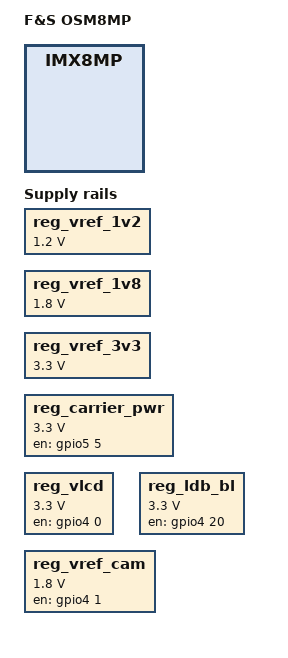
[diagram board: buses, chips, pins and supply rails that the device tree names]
/*
 * Copyright (C) 2025 F&S Elektronik Systeme GmbH
 *
 * This program is free software; you can redistribute it and/or modify
 * it under the terms of the GNU General Public License version 2 as
 * published by the Free Software Foundation.
 */

#include <dt-bindings/usb/pd.h>
#include <dt-bindings/pwm/pwm.h>
#include <dt-bindings/rtc/nxp,pcf85263.h>
#include <dt-bindings/phy/phy-imx8-pcie.h>

/* SOC-nodes to OSM-nodes */

/* Internal nodes */
emmc: &usdhc1 {};
i2c_int: &i2c1 {};
rtc_soc: &snvs_rtc {};

/* External nodes */
osm_can_a: &flexcan1 {};
osm_can_b: &flexcan2 {};
osm_csi: &mipi_csi_0 {};
osm_eth_a: &eqos {};
osm_eth_b: &fec {};
osm_i2c_a: &i2c3 {};
osm_i2c_b: &i2c4 {};
osm_i2c_cam_pci: &i2c5 {};
osm_i2s_a: &sai2 {};
osm_i2s_b: &sai3 {};
osm_pcie_a: &pcie {};
osm_pwm_0: &pwm4 {};
osm_pwm_1: &pwm1 {};
osm_pwm_2: &pwm2 {};
osm_pwm_3: &pwm3 {};
osm_sdio_a: &usdhc2 {};
osm_sdio_b: &usdhc3 {};
osm_spi_a: &flexspi {};
osm_spi_b: &ecspi2 {};
osm_uart_a: &uart1 {};
osm_uart_b: &uart3 {};
osm_uart_c: &uart4 {};
osm_uart_con: &uart2 {};
osm_usb_a: &usb_dwc3_0 {};
osm_usb_c: &usb_dwc3_1 {};

/* Not connected
 *
 * osm_adc_0
 * osm_adc_1
 * osm_com_area
 * osm_pwm_4
 * osm_pwm_5
 * osm_rgb
 * osm_uart_d
 * osm_usb_b
 * osm_adc_1
 * osm_com_area
 * osm_pwm_4
 * osm_pwm_5
 * osm_rgb
 * osm_uart_d
 * osm_usb_b
 */

/ {
	model = "F&S OSM8MP";
	compatible = "fus,imx8mp-osm8mp", "fsl,imx8mp";

	/* -------------------- BOARD INFO -------------------- */
	bdinfo: bdinfo {
		compatible = "bdinfo";
		board_name = "osm8mp";
	};
	aliases {
		/* Internal nodes */
		i2c0 = &i2c_int;
		rtc0 = &rtc85263;
		rtc1 = &rtc_soc;

		/* External nodes */
		can0 = &osm_can_a;
		can1 = &osm_can_b;
		csi0 = &osm_csi;
		ethernet0 = &osm_eth_a;
		ethernet1 = &osm_eth_b;
		i2c1 = &osm_i2c_a;
		i2c2 = &osm_i2c_b;
		i2c3 = &osm_i2c_cam_pci;
		mmc1 = &osm_sdio_a;
		mmc2 = &osm_sdio_b;
		pwm0 = &osm_pwm_0;
		pwm1 = &osm_pwm_1;
		pwm2 = &osm_pwm_2;
		pwm3 = &osm_pwm_3;
		serial0 = &osm_uart_con;
		serial1 = &osm_uart_a;
		serial2 = &osm_uart_b;
		serial3 = &osm_uart_c;
		spi0 = &osm_spi_a;
		spi1 = &osm_spi_b;
	};

	reserved_mem: reserved-memory {
		/* remove this node because the region used
		 * only by tuning tool
		 */
		/delete-node/ isp0@94400000;
		/* remove these nodes because we reserve
		 * our own memory regions
		 */
		/delete-node/ dsp@92400000;
		/delete-node/ dsp_reserved_heap@93400000;
		/delete-node/ vdev0vring0@942f0000;
		/delete-node/ vdev0vring1@942f8000;
		/delete-node/ vdev0buffer@94300000;
	};

	regulators {
		compatible = "simple-bus";
		#address-cells = <1>;
		#size-cells = <0>;

		reg_vref_1v2: regulator_1v2 {
			compatible = "regulator-fixed";
			regulator-name = "vref-1V2";
			regulator-min-microvolt = <1200000>;
			regulator-max-microvolt = <1200000>;
			regulator-always-on;
		};

		reg_vref_1v8: regulator_1v8 {
			compatible = "regulator-fixed";
			regulator-name = "vref-1V8";
			regulator-min-microvolt = <1800000>;
			regulator-max-microvolt = <1800000>;
			regulator-always-on;
		};

		reg_vref_3v3: regulator_3v3 {
			compatible = "regulator-fixed";
			regulator-name = "vref-3V3";
			regulator-min-microvolt = <3300000>;
			regulator-max-microvolt = <3300000>;
			regulator-always-on;
		};
	};

	reg_carrier_pwr: regulator_carrier_pwr {
		compatible = "regulator-fixed";
		regulator-name = "CARRIER_PWR";
		gpio = <&gpio5 5 GPIO_ACTIVE_HIGH>;
		regulator-min-microvolt = <3300000>;
		regulator-max-microvolt = <3300000>;
		regulator-boot-on;
		regulator-always-on;
		enable-active-high;
		startup-delay-us = <1000>;
		off-on-delay-us = <12000>;
	};

	/omit-if-no-ref/
	reg_vlcd: vlcd {
		compatible = "regulator-fixed";
		regulator-name = "VLCD";
		gpio = <&gpio4 0 GPIO_ACTIVE_HIGH>;
		regulator-min-microvolt = <3300000>;
		regulator-max-microvolt = <3300000>;
		enable-active-high;
	};

	/omit-if-no-ref/
	reg_ldb_bl: ldb-bl {
		compatible = "regulator-fixed";
		regulator-name = "ldb-bl";
		gpio = <&gpio4 20 GPIO_ACTIVE_HIGH>;
		regulator-min-microvolt = <3300000>;
		regulator-max-microvolt = <3300000>;
		enable-active-high;
	};

	/omit-if-no-ref/
	reg_vref_cam: regulator_cam {
		compatible = "regulator-fixed";
		regulator-name = "CAM_ENA";
		gpio = <&gpio4 1 GPIO_ACTIVE_HIGH>;
		regulator-min-microvolt = <1800000>;
		regulator-max-microvolt = <1800000>;
		regulator-always-on;
		enable-active-high;
	};
};

&osm_pwm_0 {
	pinctrl-names = "default";
	pinctrl-0 = <&pinctrl_osm_pwm_0>;
	#pwm-cells = <3>;
	keep-power;
	status = "disabled";
};

&osm_pwm_1 {
	pinctrl-names = "default";
	pinctrl-0 = <&pinctrl_osm_pwm_1>;
	status = "disabled";
};

&osm_pwm_2 {
	pinctrl-names = "default";
	pinctrl-0 = <&pinctrl_osm_pwm_2>;
	status = "disabled";
};

&osm_pwm_3 {
	pinctrl-names = "default";
	pinctrl-0 = <&pinctrl_osm_pwm_3>;
	status = "disabled";
};

&A53_0 {
	cpu-supply = <&buck2>;
};

&A53_1 {
	cpu-supply = <&buck2>;
};

&A53_2 {
	cpu-supply = <&buck2>;
};

&A53_3 {
	cpu-supply = <&buck2>;
};

/* PMIC */
&i2c_int {
	clock-frequency = <400000>;
	pinctrl-names = "default";
	pinctrl-0 = <&pinctrl_i2c_int>;
	status = "disabled";

	rtc85263: rtc85263@51 {
		compatible = "nxp,pcf85263";
		reg = <0x51>;
		clock-out = <PCF85263_CLK_OUT_32p768kHz>;

		quartz-load-capacitance = <PCF85263_QUARTZCAP_12p5pF>;
		quartz-drive-strength = <PCF85263_QUARTZDRIVE_LOW>;
		status = "disabled";
	};

	pmic: pca9450@25 {
		reg = <0x25>;
		compatible = "nxp,pca9450c";
		pinctrl-names = "default";
		pinctrl-0 = <&pinctrl_pmic>;
		interrupt-parent = <&gpio5>;
		interrupts = <2 IRQ_TYPE_LEVEL_LOW>;
		status = "disabled";

		regulators {
			buck1: BUCK1 {
				regulator-name = "BUCK1";
				regulator-min-microvolt = <600000>;
				regulator-max-microvolt = <2187500>;
				regulator-boot-on;
				regulator-always-on;
				regulator-ramp-delay = <3125>;
			};

			buck2: BUCK2 {
				regulator-name = "BUCK2";
				regulator-min-microvolt = <600000>;
				regulator-max-microvolt = <2187500>;
				regulator-boot-on;
				regulator-always-on;
				regulator-ramp-delay = <3125>;
				nxp,dvs-run-voltage = <950000>;
				nxp,dvs-standby-voltage = <850000>;
			};

			buck4: BUCK4 {
				regulator-name = "BUCK4";
				regulator-min-microvolt = <3300000>;
				regulator-max-microvolt = <3300000>;
				regulator-boot-on;
				regulator-always-on;
			};

			buck5: BUCK5 {
				regulator-name = "BUCK5";
				regulator-min-microvolt = <1800000>;
				regulator-max-microvolt = <1800000>;
				regulator-boot-on;
				regulator-always-on;
			};

			buck6: BUCK6 {
				regulator-name = "BUCK6";
				regulator-min-microvolt = <600000>;
				regulator-max-microvolt = <3400000>;
				regulator-boot-on;
				regulator-always-on;
			};

			ldo1: LDO1 {
				regulator-name = "LDO1";
				regulator-min-microvolt = <1600000>;
				regulator-max-microvolt = <3300000>;
				regulator-boot-on;
				regulator-always-on;
			};

			ldo2: LDO2 {
				regulator-name = "LDO";
				regulator-min-microvolt = <800000>;
				regulator-max-microvolt = <1150000>;
				regulator-boot-on;
				regulator-always-on;
			};

			ldo3: LDO3 {
				regulator-name = "LDO3";
				regulator-min-microvolt = <800000>;
				regulator-max-microvolt = <3300000>;
				regulator-boot-on;
				regulator-always-on;
			};

			ldo4: LDO4 {
				regulator-name = "LDO4";
				regulator-min-microvolt = <800000>;
				regulator-max-microvolt = <3300000>;
				regulator-boot-on;
				regulator-always-on;
			};

			ldo5: LDO5 {
				regulator-name = "LDO5";
				regulator-compatible = "ldo5";
				regulator-min-microvolt = <1800000>;
				regulator-max-microvolt = <3300000>;
				regulator-boot-on;
				regulator-always-on;
			};
		};
	};
};

&osm_eth_a {
	pinctrl-names = "default";
	pinctrl-0 = <&pinctrl_osm_eth_a>;
	snps,force_thresh_dma_mode;
	snps,mtl-tx-config = <&mtl_tx_setup>;
	snps,mtl-rx-config = <&mtl_rx_setup>;
	status = "disabled";

	mdio {
		compatible = "snps,dwmac-mdio";
		#address-cells = <1>;
		#size-cells = <0>;
	};

	mtl_tx_setup: tx-queues-config {
		snps,tx-queues-to-use = <5>;
		snps,tx-sched-sp;

		queue0 {
			snps,dcb-algorithm;
			snps,priority = <0x1>;
		};

		queue1 {
			snps,dcb-algorithm;
			snps,priority = <0x2>;
		};

		queue2 {
			snps,dcb-algorithm;
			snps,priority = <0x4>;
		};

		queue3 {
			snps,dcb-algorithm;
			snps,priority = <0x8>;
		};

		queue4 {
			snps,dcb-algorithm;
			snps,priority = <0xf0>;
		};
	};

	mtl_rx_setup: rx-queues-config {
		snps,rx-queues-to-use = <5>;
		snps,rx-sched-sp;

		queue0 {
			snps,dcb-algorithm;
			snps,priority = <0x1>;
			snps,map-to-dma-channel = <0>;
		};

		queue1 {
			snps,dcb-algorithm;
			snps,priority = <0x2>;
			snps,map-to-dma-channel = <1>;
		};

		queue2 {
			snps,dcb-algorithm;
			snps,priority = <0x4>;
			snps,map-to-dma-channel = <2>;
		};

		queue3 {
			snps,dcb-algorithm;
			snps,priority = <0x8>;
			snps,map-to-dma-channel = <3>;
		};

		queue4 {
			snps,dcb-algorithm;
			snps,priority = <0xf0>;
			snps,map-to-dma-channel = <4>;
		};
	};
};

&osm_eth_b {
	pinctrl-names = "default";
	pinctrl-0 = <&pinctrl_osm_eth_b>;
	fsl,magic-packet;
	status = "disabled";
};

&osm_i2c_a {
	clock-frequency = <400000>;
	pinctrl-names = "default";
	pinctrl-0 = <&pinctrl_osm_i2c_a>;
	status = "disabled";

	/* EEPROM */
	eeprom: eeprom@50 {
		compatible = "atmel,24c64";
		reg = <0x50>;
		pagesize = <8>;
		vcc-supply = <&reg_vref_1v8>;
	};
};

&osm_i2c_b {
	clock-frequency = <400000>;
	pinctrl-names = "default";
	pinctrl-0 = <&pinctrl_osm_i2c_b>;
	status = "disabled";
};

&osm_i2c_cam_pci {
	clock-frequency = <400000>;
	pinctrl-names = "default";
	pinctrl-0 = <&pinctrl_osm_i2c_cam_pci>;
	status = "disabled";
};

&osm_spi_a {
	#address-cells = <1>;
	#size-cells = <0>;
	pinctrl-names = "default";
	pinctrl-0 = <&pinctrl_osm_spi_a>;
	status = "disabled";
};

&osm_spi_b {
	#address-cells = <1>;
	#size-cells = <0>;
	pinctrl-names = "default";
	pinctrl-0 = <&pinctrl_osm_spi_b>;
	status = "disabled";
};

&osm_can_a {
	pinctrl-names = "default";
	pinctrl-0 = <&pinctrl_osm_can_a>;
	status = "disabled";
};

&osm_can_b {
	pinctrl-names = "default";
	pinctrl-0 = <&pinctrl_osm_can_b>;
	status = "disabled";
};

&hdmi_blk_ctrl {
	status = "disabled";
};

&irqsteer_hdmi {
	status = "disabled";
};

&hdmi_pavi {
	status = "disabled";
};

&hdmi {
	status = "disabled";
};

&hdmiphy {
	status = "disabled";
};

&lcdif1 {
	status = "disabled";
};

&lcdif2 {
	status = "disabled";
};

&lcdif3 {
	status = "disabled";
};

&ldb {
	status = "disabled";
};

&ldb_phy {
	status = "disabled";
};

&mipi_dsi {
	status = "disabled";
};

&easrc {
	status = "disabled";
};

&osm_pcie_a {
	pinctrl-names = "default";
	pinctrl-0 = <&pinctrl_osm_pcie_a>;
	reset-gpio = <&gpio4 29 GPIO_ACTIVE_LOW>;
	status = "disabled";
};

&pcie_phy {
	fsl,refclk-pad-mode = <IMX8_PCIE_REFCLK_PAD_UNUSED>;
	fsl,clkreq-unsupported;
	clocks = <&hsio_blk_ctrl>;
	clock-names = "ref";
	status = "disabled";
};

&osm_i2s_a {
	#sound-dai-cells = <0>;
	pinctrl-names = "default";
	pinctrl-0 = <&pinctrl_osm_i2s_a>;
	assigned-clocks = <&clk IMX8MP_CLK_SAI2>;
	assigned-clock-rates = <24576000>;
	clocks = <&audio_blk_ctrl IMX8MP_CLK_AUDIOMIX_SAI2_IPG>, <&clk IMX8MP_CLK_DUMMY>,
		 <&audio_blk_ctrl IMX8MP_CLK_AUDIOMIX_SAI2_MCLK1>, <&clk IMX8MP_CLK_DUMMY>,
		 <&clk IMX8MP_CLK_DUMMY>;
	clock-names = "bus", "mclk0", "mclk1", "mclk2", "mclk3";
	fsl,sai-mclk-direction-output;
	/* sai to clock and frame tx/rx master */
	fsl,txmasterflag = <1>; // SND_SOC_DAIFMT_CBM_CFM
	fsl,rxmasterflag = <1>; // SND_SOC_DAIFMT_CBM_CFM
	status = "disabled";
};

&osm_i2s_b {
	pinctrl-names = "default";
	pinctrl-0 = <&pinctrl_osm_i2s_b>;
	assigned-clocks = <&clk IMX8MP_CLK_SAI3>;
	assigned-clock-rates = <24576000>;
	clocks = <&audio_blk_ctrl IMX8MP_CLK_AUDIOMIX_SAI3_IPG>, <&clk IMX8MP_CLK_DUMMY>,
		 <&audio_blk_ctrl IMX8MP_CLK_AUDIOMIX_SAI3_MCLK1>, <&clk IMX8MP_CLK_DUMMY>,
		 <&clk IMX8MP_CLK_DUMMY>;
	clock-names = "bus", "mclk0", "mclk1", "mclk2", "mclk3";
	fsl,sai-mclk-direction-output;
	fsl,txmasterflag = <1>; // SND_SOC_DAIFMT_CBM_CFM
	fsl,rxmasterflag = <1>; // SND_SOC_DAIFMT_CBM_CFM
	status = "disabled";
};

&sdma2 {
	status = "disabled";
};

&osm_uart_con {
	pinctrl-names = "default";
	pinctrl-0 = <&pinctrl_osm_uart_con>;
	status = "disabled";
};

&osm_uart_a {
	pinctrl-names = "default";
	pinctrl-0 = <&pinctrl_osm_uart_a>;
	status = "disabled";
};

&osm_uart_b {
	pinctrl-names = "default";
	pinctrl-0 = <&pinctrl_osm_uart_b>;
	status = "disabled";
};

&osm_uart_c {
	pinctrl-names = "default";
	pinctrl-0 = <&pinctrl_osm_uart_c>;
	status = "disabled";
};

&usb3_phy0 {
	fsl,phy-tx-vref-tune = <0xe>;
	fsl,phy-tx-preemp-amp-tune = <3>;
	fsl,phy-tx-vboost-level = <5>;
	fsl,phy-comp-dis-tune = <7>;
	fsl,pcs-tx-deemph-3p5db = <0x21>;
	fsl,phy-pcs-tx-swing-full = <0x7f>;
	status = "disabled";
};

&usb3_0 {
	status = "disabled";
};

&osm_usb_a {
	pinctrl-names = "default";
	pinctrl-0 = <&pinctrl_osm_usb_a>;
	dr_mode = "otg";
	hnp-disable;
	srp-disable;
	adp-disable;
	usb-role-switch;
	role-switch-default-mode = "none";
	status = "disabled";
};

&usb3_phy1 {
	fsl,phy-tx-preemp-amp-tune = <3>;
	fsl,phy-tx-vref-tune = <0xb>;
	status = "disabled";
};

&usb3_1 {
	status = "disabled";
};

&osm_usb_c {
	pinctrl-names = "default";
	pinctrl-0 = <&pinctrl_osm_usb_c>;
	status = "disabled";
};

&osm_sdio_a {
	assigned-clocks = <&clk IMX8MP_CLK_USDHC2>;
	assigned-clock-rates = <400000000>;
	pinctrl-names = "default", "state_100mhz", "state_200mhz";
	pinctrl-0 = <&pinctrl_osm_sdio_a>;
	pinctrl-1 = <&pinctrl_osm_sdio_a_100mhz>;
	pinctrl-2 = <&pinctrl_osm_sdio_a_200mhz>;
	bus-width = <4>;
	status = "disabled";
};

&osm_sdio_b {
	assigned-clocks = <&clk IMX8MP_CLK_USDHC3>;
	assigned-clock-rates = <400000000>;
	pinctrl-names = "default", "state_100mhz", "state_200mhz";
	pinctrl-0 = <&pinctrl_osm_sdio_b>;
	pinctrl-1 = <&pinctrl_osm_sdio_b_100mhz>;
	pinctrl-2 = <&pinctrl_osm_sdio_b_200mhz>;
	vqmmc-supply = <&reg_vref_1v8>;
	status = "disabled";
};

&emmc {
	assigned-clocks = <&clk IMX8MP_CLK_USDHC1>;
	assigned-clock-rates = <400000000>;
	pinctrl-names = "default", "state_100mhz", "state_200mhz";
	pinctrl-0 = <&pinctrl_emmc>;
	pinctrl-1 = <&pinctrl_emmc_100mhz>;
	pinctrl-2 = <&pinctrl_emmc_200mhz>;
	vmmc-supply = <&reg_vref_3v3>;
	vqmmc-supply = <&reg_vref_1v8>;
	bus-width = <8>;
	non-removable;
	status = "disabled";
};

&osm_csi {
	#address-cells = <1>;
	#size-cells = <0>;
	status = "disabled";
};

&wdog1 {
	pinctrl-names = "default";
	pinctrl-0 = <&pinctrl_wdog>;
	fsl,ext-reset-output;
	status = "disabled";
};

&vpu_g1 {
	status = "disabled";
};

&vpu_g2 {
	status = "disabled";
};

&vpu_vc8000e {
	status = "disabled";
};

&vpu_v4l2 {
	status = "disabled";
};

&gpu_3d {
	status = "disabled";
};

&gpu_2d {
	status = "disabled";
};

&ml_vipsi {
	status = "disabled";
};

&mix_gpu_ml {
	status = "disabled";
};

&cameradev {
	status = "disabled";
};

&isp_0 {
	/* remove this property because this region used
	 * only by tuning tool
	 * */
	/delete-property/ memory-region;
};

&isi_0 {
	status = "disabled";

	cap_device {
		status = "disabled";
	};

	m2m_device {
		status = "disabled";
	};
};

&isi_1 {
	status = "disabled";

	cap_device {
		status = "disabled";
	};
};

&dsp {
	/delete-property/ memory-region;
	status = "disabled";
};

&snvs_pwrkey {
	status = "disabled";
};

/* Disable CPU RTC - external available */
&rtc_soc {
	status = "disabled";
};

/* GPIO declarations */
&gpio1 {
	gpio-line-names =
	/* 0 */   "GPIO_B_2", "GPIO_A_3", "WDOG", "GPIO_B_0",
	/* 4 */   "SDIO_A_VSEL", "GPIO_A_0", "GPIO_A_1", "GPIO_A_2",
	/* 8 */   "GPIO_A_5", "GPIO_B_3", "GPIO_A_4", "GPIO_B_1",
	/* 12 */  "USB_A_EN", "USB_A_OC", "USB_C_EN", "USB_C_OC",
	/* 16 */  "ETH_A_MDC", "ETH_A_MDIO", "ETH_A_(S)(R)(G)MII_TXD3", "ETH_A_(S)(R)(G)MII_TXD2",
	/* 20 */  "ETH_A_(S)(R)(G)MII_TXD1", "ETH_A_(S)(R)(G)MII_TXD0",
		  "ETH_A_(R)(G)MII_TX_EN(_ER)", "ETH_A_(R)(G)MII_TX_CLK",
	/* 24 */  "ETH_A_(R)(G)MII_RX_DV(_ER)", "ETH_A_(R)(G)MII_RX_CLK",
		  "ETH_A_(S)(R)(G)MII_RXD0", "ETH_A_(S)(R)(G)MII_RXD1",
	/* 28 */  "ETH_A_(R)(G)MII_RXD2", "ETH_A_(R)(G)MII_RXD3", "", "";
};

&gpio2 {
	gpio-line-names =
	/* 0 */   "SD_eMMC_CLK", "SD_eMMC_CMD", "SD_eMMC_D0", "SD_eMMC_D1",
	/* 4 */   "SD_eMMC_D2", "SD_eMMC_D3", "SD_eMMC_D4", "SD_eMMC_D5",
	/* 8 */   "SD_eMMC_D6", "SD_eMMC_D7", "SD_eMMC_RST", "SD_eMMC_DS",
	/* 12 */  "SDIO_A_CD", "SDIO_A_CLK", "SDIO_A_CMD", "SDIO_A_D0",
	/* 16 */  "SDIO_A_D1", "SDIO_A_D2", "SDIO_A_D3", "SDIO_A_PWR_EN",
	/* 20 */  "SDIO_A_WP", "", "", "",
	/* 24 */  "", "", "", "",
	/* 28 */  "", "", "", "";
};

&gpio3 {
	gpio-line-names =
	/* 0 */   "SPI_A_SCK", "SPI_A_CS0#", "PCIe_SM_ALERT#", "SDIO_B_D5",
	/* 4 */   "SDIO_B_D6", "SDIO_B_D7", "SPI_A_IO0", "SPI_A_IO1",
	/* 8 */   "SPI_A_IO2", "SPI_A_IO3", "SDIO_B_D0", "SDIO_B_D1",
	/* 12 */  "SDIO_B_D2", "SDIO_B_D3", "DSI_TE", "SDIO_B_D4",
	/* 16 */  "SDIO_B_PWR_EN", "SDIO_B_CLK", "SDIO_B_CMD", "DISP_BL_PWM",
	/* 20 */  "GPIO3_IO20", "GPIO3_IO21", "PCIe_CLKREQ", "GPIO_B_6",
	/* 24 */  "GPIO_B_4", "PWM_1", "I2C_C_SCL", "I2C_C_SDA",
	/* 28 */  "CAN_B_TX", "CAN_B_RX", "", "";
};

&gpio4 {
	gpio-line-names =
	/* 0 */   "DISP_VDD_EN", "CAM_EN", "CAM_RST", "GPIO_C_1",
	/* 4 */   "ETH_B_MDC", "ETH_B_MDIO", "ETH_B_(S)(R)(G)MII_RXD0", "ETH_B_(S)(R)(G)MII_RXD1",
	/* 8 */   "ETH_B_(R)(G)MII_RXD2", "ETH_B_(R)(G)MII_RXD3", "ETH_B_(R)(G)MII_RX_DV(_ER)", "ETH_B_(R)(G)MII_RX_CLK",
	/* 12 */  "ETH_B_(S)(R)(G)MII_TXD0", "ETH_B_(S)(R)(G)MII_TXD1", "ETH_B_(S)(R)(G)MII_TXD2", "ETH_B_(S)(R)(G)MII_TXD3",
	/* 16 */  "ETH_B_(R)(G)MII_TX_EN(_ER)", "ETH_B_(R)(G)MII_TX_CLK", "GPIO_C_3", "GPIO_C_2",
	/* 20 */  "DISP_BL_EN", "GPIO_B_7", "GPIO_B_5", "I2S_A_DATA_IN",
	/* 24 */  "I2S_A_LRCLK", "I2S_A_BITCLK", "I2S_A_DATA_OUT", "GPIO_C_0",
	/* 28 */  "PCIe_WAKE", "PCIe_PERST", "I2S_B_DATA_IN", "I2S_B_LRCLK";
};

&gpio5 {
	gpio-line-names =
	/* 0 */   "I2S_A_BITCLK", "I2S_B_DATA_OUT", "PMIC_IRQ", "CAN_A_TX",
	/* 4 */   "CAN_A_RX", "CARRIER_PWR_EN", "UART_B_RX", "UART_B_TX",
	/* 8 */   "UART_B_RTS", "UART_B_CTS", "SPI_B_SCK", "SPI_B_SDO",
	/* 12 */  "SPI_B_SDI", "SPI_B_CS0", "I2C_INT_SCL", "I2C_INT_SDA",
	/* 16 */  "SDIO_B_CD", "SDIO_B_WP", "I2C_A_SCL", "I2C_A_SDA",
	/* 20 */  "I2C_B_SCL", "I2C_B_SDA", "UART_A_RX", "UART_A_TX",
	/* 24 */  "UART_CON_RX", "UART_CON_TX", "UART_A_RTS", "UART_A_CTS",
	/* 28 */  "UART_C_RX", "UART_C_TX", "", "";
};

&iomuxc {
	pinctrl-names = "default";
	pinctrl-0 = <&pinctrl_hog>;

	pinctrl_hog: hoggrp {
		fsl,pins = <
			/* CARRIER_PWR_EN */
			MX8MP_IOMUXC_SPDIF_EXT_CLK__GPIO5_IO05	0x00004

			/* GPIO_A */
			/* 0 */ MX8MP_IOMUXC_GPIO1_IO05__GPIO1_IO05	0x00004
			/* 1 */ MX8MP_IOMUXC_GPIO1_IO06__GPIO1_IO06	0x00004
			/* 2 */ MX8MP_IOMUXC_GPIO1_IO07__GPIO1_IO07	0x00004
			/* 3 */ MX8MP_IOMUXC_GPIO1_IO01__GPIO1_IO01	0x00004
			/* 4 */ MX8MP_IOMUXC_GPIO1_IO10__GPIO1_IO10	0x00004
			/* 5 */ MX8MP_IOMUXC_GPIO1_IO08__GPIO1_IO08	0x00004
			/* GPIO_B */
			/* 0 */ MX8MP_IOMUXC_GPIO1_IO03__GPIO1_IO03	0x00004
			/* 1 */ MX8MP_IOMUXC_GPIO1_IO11__GPIO1_IO11	0x00004
			/* 2 */ MX8MP_IOMUXC_GPIO1_IO00__GPIO1_IO00	0x00004
			/* 3 */ MX8MP_IOMUXC_GPIO1_IO09__GPIO1_IO09	0x00004
			/* 4 */ MX8MP_IOMUXC_SAI5_RXD3__GPIO3_IO24	0x00004
			/* 5 */ MX8MP_IOMUXC_SAI2_RXC__GPIO4_IO22	0x00004
			/* 6 */ MX8MP_IOMUXC_SAI5_RXD2__GPIO3_IO23	0x00004
			/* 7 */ MX8MP_IOMUXC_SAI2_RXFS__GPIO4_IO21	0x00004

			/* GPIO_C */
			/* 0 */ MX8MP_IOMUXC_SAI2_MCLK__GPIO4_IO27	0x00004
			/* 1 */ MX8MP_IOMUXC_SAI1_RXD1__GPIO4_IO03	0x00004
			/* 2 */ MX8MP_IOMUXC_SAI1_TXD7__GPIO4_IO19	0x00004
			/* 3 */ MX8MP_IOMUXC_SAI1_TXD6__GPIO4_IO18	0x00004
			/* 4 */ /* VDD_EN: Disable display for usage */
			/* 4 */ MX8MP_IOMUXC_SAI1_RXFS__GPIO4_IO00	0x00004
			/* 5 */ /* BL_EN: Disable backlight control for usage */
			/* 5 */ MX8MP_IOMUXC_SAI1_MCLK__GPIO4_IO20	0x00004
			/* 6 */ /* CAM_EN: Disable CAM for usage */
			/* 6 */ MX8MP_IOMUXC_SAI1_RXC__GPIO4_IO01	0x00004
			/* 7 */ /* CAM_RST: Disable CAM for usage */
			/* 7 */ MX8MP_IOMUXC_SAI1_RXD0__GPIO4_IO02	0x00004
		>;
	};

	pinctrl_osm_pwm_0: pwm4grp {
		fsl,pins = <
			MX8MP_IOMUXC_SAI5_RXFS__PWM4_OUT	0x116
		>;
	};

	pinctrl_osm_pwm_1: pwm1grp {
		fsl,pins = <
			MX8MP_IOMUXC_SAI5_MCLK__PWM1_OUT	0x116
		>;
	};

	pinctrl_osm_pwm_2: pwm2grp {
		fsl,pins = <
			MX8MP_IOMUXC_SAI5_RXD0__PWM2_OUT	0x116
		>;
	};

	pinctrl_osm_pwm_3: pwm3grp {
		fsl,pins = <
			MX8MP_IOMUXC_SAI5_RXC__PWM3_OUT		0x116
		>;
	};

	pinctrl_osm_spi_a: flexspigrp {
		fsl,pins = <
			MX8MP_IOMUXC_NAND_ALE__FLEXSPI_A_SCLK			0x82
			MX8MP_IOMUXC_NAND_DATA00__FLEXSPI_A_DATA00		0x82
			MX8MP_IOMUXC_NAND_DATA01__FLEXSPI_A_DATA01		0x82
			MX8MP_IOMUXC_NAND_DATA02__FLEXSPI_A_DATA02		0x82
			MX8MP_IOMUXC_NAND_DATA03__FLEXSPI_A_DATA03		0x82
		>;
	};

	pinctrl_osm_spi_a_cs0: flexspigrp-cs0 {
		fsl,pins = <
			MX8MP_IOMUXC_NAND_CE0_B__GPIO3_IO01			0x40000
		>;
	};

	pinctrl_osm_spi_a_cs1: flexspigrp-cs1 {
		fsl,pins = <
			MX8MP_IOMUXC_SAI5_RXD0__GPIO3_IO21			0x40000
		>;
	};

	pinctrl_osm_spi_a_hs: flexspigrp-hs {
			/* Optional to DSI_TE, requires capacitive load (10-18pF)
			 * on baseboard (near [CG #R2]) */
		fsl,pins = <
			MX8MP_IOMUXC_NAND_DQS__FLEXSPI_A_DQS			0x40000
		>;
	};

	pinctrl_osm_spi_b: ecspi2grp {
		fsl,pins = <
			MX8MP_IOMUXC_ECSPI2_SCLK__ECSPI2_SCLK		0x82
			MX8MP_IOMUXC_ECSPI2_MOSI__ECSPI2_MOSI		0x82
			MX8MP_IOMUXC_ECSPI2_MISO__ECSPI2_MISO		0x82
		>;
	};
	pinctrl_osm_spi_b_cs0: ecspi2grp-cs0 {
		fsl,pins = <
			MX8MP_IOMUXC_ECSPI2_SS0__GPIO5_IO13			0x40000
		>;
	};

	pinctrl_osm_spi_b_cs1: ecspi2grp-cs1 {
		fsl,pins = <
			MX8MP_IOMUXC_SAI5_RXC__GPIO3_IO20			0x40000
		>;
	};

	pinctrl_osm_eth_a: eqosgrp {
		fsl,pins = <
			MX8MP_IOMUXC_ENET_MDC__ENET_QOS_MDC							0x3
			MX8MP_IOMUXC_ENET_MDIO__ENET_QOS_MDIO						0x3
			MX8MP_IOMUXC_ENET_RD0__ENET_QOS_RGMII_RD0					0x91
			MX8MP_IOMUXC_ENET_RD1__ENET_QOS_RGMII_RD1					0x91
			MX8MP_IOMUXC_ENET_RD2__ENET_QOS_RGMII_RD2					0x91
			MX8MP_IOMUXC_ENET_RD3__ENET_QOS_RGMII_RD3					0x91
			MX8MP_IOMUXC_ENET_RXC__CCM_ENET_QOS_CLOCK_GENERATE_RX_CLK	0x91
			MX8MP_IOMUXC_ENET_RX_CTL__ENET_QOS_RGMII_RX_CTL				0x91
			MX8MP_IOMUXC_ENET_TD0__ENET_QOS_RGMII_TD0					0x1f
			MX8MP_IOMUXC_ENET_TD1__ENET_QOS_RGMII_TD1					0x1f
			MX8MP_IOMUXC_ENET_TD2__ENET_QOS_RGMII_TD2					0x1f
			MX8MP_IOMUXC_ENET_TD3__ENET_QOS_RGMII_TD3					0x1f
			MX8MP_IOMUXC_ENET_TX_CTL__ENET_QOS_RGMII_TX_CTL				0x1f
			MX8MP_IOMUXC_ENET_TXC__CCM_ENET_QOS_CLOCK_GENERATE_TX_CLK	0x1f
		>;
	};

	pinctrl_osm_eth_b: fecgrp {
		fsl,pins = <
			MX8MP_IOMUXC_SAI1_RXD2__ENET1_MDC			0x3
			MX8MP_IOMUXC_SAI1_RXD3__ENET1_MDIO			0x3
			MX8MP_IOMUXC_SAI1_RXD4__ENET1_RGMII_RD0		0x91
			MX8MP_IOMUXC_SAI1_RXD5__ENET1_RGMII_RD1		0x91
			MX8MP_IOMUXC_SAI1_RXD6__ENET1_RGMII_RD2		0x91
			MX8MP_IOMUXC_SAI1_RXD7__ENET1_RGMII_RD3		0x91
			MX8MP_IOMUXC_SAI1_TXC__ENET1_RGMII_RXC		0x91
			MX8MP_IOMUXC_SAI1_TXFS__ENET1_RGMII_RX_CTL	0x91
			MX8MP_IOMUXC_SAI1_TXD0__ENET1_RGMII_TD0		0x1f
			MX8MP_IOMUXC_SAI1_TXD1__ENET1_RGMII_TD1		0x1f
			MX8MP_IOMUXC_SAI1_TXD2__ENET1_RGMII_TD2		0x1f
			MX8MP_IOMUXC_SAI1_TXD3__ENET1_RGMII_TD3		0x1f
			MX8MP_IOMUXC_SAI1_TXD4__ENET1_RGMII_TX_CTL	0x1f
			MX8MP_IOMUXC_SAI1_TXD5__ENET1_RGMII_TXC		0x1f
		>;
	};

	pinctrl_osm_can_a: flexcan1grp {
		fsl,pins = <
			MX8MP_IOMUXC_SPDIF_RX__CAN1_RX		0x154
			MX8MP_IOMUXC_SPDIF_TX__CAN1_TX		0x154
		>;
	};

	pinctrl_osm_can_b: flexcan2grp {
		fsl,pins = <
			MX8MP_IOMUXC_HDMI_HPD__CAN2_RX		0x154
			MX8MP_IOMUXC_HDMI_CEC__CAN2_TX		0x154
		>;
	};

	pinctrl_i2c_int: i2c1grp {
		fsl,pins = <
			MX8MP_IOMUXC_I2C1_SCL__I2C1_SCL		0x40000083
			MX8MP_IOMUXC_I2C1_SDA__I2C1_SDA		0x40000083
		>;
	};

	pinctrl_osm_i2c_a: i2c3grp {
		fsl,pins = <
			MX8MP_IOMUXC_I2C3_SCL__I2C3_SCL		0x40000083
			MX8MP_IOMUXC_I2C3_SDA__I2C3_SDA		0x40000083
		>;
	};

	pinctrl_osm_i2c_b: i2c4grp {
		fsl,pins = <
			MX8MP_IOMUXC_I2C4_SCL__I2C4_SCL		0x40000083
			MX8MP_IOMUXC_I2C4_SDA__I2C4_SDA		0x40000083
		>;
	};

	pinctrl_osm_i2c_cam_pci: i2c5grp {
		fsl,pins = <
			MX8MP_IOMUXC_HDMI_DDC_SCL__I2C5_SCL	0x40000083
			MX8MP_IOMUXC_HDMI_DDC_SDA__I2C5_SDA	0x40000083
		>;
	};

	pinctrl_osm_pcie_a: pciegrp {
		fsl,pins = <
			/* mPCIE_CLKREQ */
			MX8MP_IOMUXC_SAI5_RXD1__GPIO3_IO22		0x81
			/* mPCIE_PERST */
			MX8MP_IOMUXC_SAI3_RXC__GPIO4_IO29		0x4
			/* mPCIE_WAKE */
			MX8MP_IOMUXC_SAI3_RXFS__GPIO4_IO28		0x81
			/* mPCIE_SM_ALERT */
			MX8MP_IOMUXC_NAND_CE1_B__GPIO3_IO02		0x81
		>;
	};

	pinctrl_pmic: pmicirq {
		fsl,pins = <
			MX8MP_IOMUXC_SAI3_MCLK__GPIO5_IO02	0x161
		>;
	};

	pinctrl_osm_i2s_a: sai2grp {
		fsl,pins = <
			MX8MP_IOMUXC_SAI2_TXFS__AUDIOMIX_SAI2_TX_SYNC	0xd6
			MX8MP_IOMUXC_SAI2_TXC__AUDIOMIX_SAI2_TX_BCLK	0xd6
			MX8MP_IOMUXC_SAI2_TXD0__AUDIOMIX_SAI2_TX_DATA00	0xd6
			MX8MP_IOMUXC_SAI2_RXD0__AUDIOMIX_SAI2_RX_DATA00	0xd6
		>;
	};

	pinctrl_osm_i2s_b: sai3grp {
		fsl,pins = <
			MX8MP_IOMUXC_SAI3_TXFS__AUDIOMIX_SAI3_TX_SYNC	0xd6
			MX8MP_IOMUXC_SAI3_TXC__AUDIOMIX_SAI3_TX_BCLK	0xd6
			MX8MP_IOMUXC_SAI3_TXD__AUDIOMIX_SAI3_TX_DATA00	0xd6
			MX8MP_IOMUXC_SAI3_RXD__AUDIOMIX_SAI3_RX_DATA00	0xd6
		>;
	};

	pinctrl_osm_uart_a: uart1grp {
		fsl,pins = <
			MX8MP_IOMUXC_UART1_RXD__UART1_DCE_RX 	0x140
			MX8MP_IOMUXC_UART1_TXD__UART1_DCE_TX	0x140
		>;
	};

	pinctrl_osm_uart_a_rtscts: uart1grp-rtscts {
		fsl,pins = <
			MX8MP_IOMUXC_UART3_RXD__UART1_DCE_CTS	0x140
			MX8MP_IOMUXC_UART3_TXD__UART1_DCE_RTS	0x140
		>;
	};

	pinctrl_osm_uart_b: uart3grp {
		fsl,pins = <
			MX8MP_IOMUXC_ECSPI1_SCLK__UART3_DCE_RX 	0x140
			MX8MP_IOMUXC_ECSPI1_MOSI__UART3_DCE_TX	0x140
		>;
	};

	pinctrl_osm_uart_b_rtscts: uart3grp-rtscts {
		fsl,pins = <
			MX8MP_IOMUXC_ECSPI1_MISO__UART3_DCE_CTS	0x140
			MX8MP_IOMUXC_ECSPI1_SS0__UART3_DCE_RTS	0x140
		>;
	};


	pinctrl_osm_uart_c: uart4grp {
		fsl,pins = <
			MX8MP_IOMUXC_UART4_RXD__UART4_DCE_RX	0x140
			MX8MP_IOMUXC_UART4_TXD__UART4_DCE_TX	0x140
		>;
	};

	pinctrl_osm_uart_con: uart2grp {
		fsl,pins = <
			MX8MP_IOMUXC_UART2_RXD__UART2_DCE_RX	0x140
			MX8MP_IOMUXC_UART2_TXD__UART2_DCE_TX	0x140
		>;
	};

	pinctrl_osm_usb_a: usb1grp {
		fsl,pins = <
			MX8MP_IOMUXC_GPIO1_IO12__USB1_PWR	0x4
		>;
	};

	pinctrl_osm_usb_c: usb2grp {
		fsl,pins = <
			MX8MP_IOMUXC_GPIO1_IO14__USB2_PWR	0x4
		>;
	};

	pinctrl_emmc: usdhc1grp {
		fsl,pins = <
			MX8MP_IOMUXC_SD1_CLK__USDHC1_CLK			0x190
			MX8MP_IOMUXC_SD1_CMD__USDHC1_CMD			0x090
			MX8MP_IOMUXC_SD1_DATA0__USDHC1_DATA0		0x090
			MX8MP_IOMUXC_SD1_DATA1__USDHC1_DATA1		0x1d0
			MX8MP_IOMUXC_SD1_DATA2__USDHC1_DATA2		0x1d0
			MX8MP_IOMUXC_SD1_DATA3__USDHC1_DATA3		0x1d0
			MX8MP_IOMUXC_SD1_DATA4__USDHC1_DATA4		0x1d0
			MX8MP_IOMUXC_SD1_DATA5__USDHC1_DATA5		0x1d0
			MX8MP_IOMUXC_SD1_DATA6__USDHC1_DATA6		0x1d0
			MX8MP_IOMUXC_SD1_DATA7__USDHC1_DATA7		0x1d0
			MX8MP_IOMUXC_SD1_STROBE__USDHC1_STROBE		0x190
			MX8MP_IOMUXC_SD1_RESET_B__USDHC1_RESET_B	0x004
		>;
	};

	pinctrl_emmc_100mhz: usdhc1grp-100mhz {
		fsl,pins = <
			MX8MP_IOMUXC_SD1_CLK__USDHC1_CLK			0x194
			MX8MP_IOMUXC_SD1_CMD__USDHC1_CMD			0x094
			MX8MP_IOMUXC_SD1_DATA0__USDHC1_DATA0		0x094
			MX8MP_IOMUXC_SD1_DATA1__USDHC1_DATA1		0x1d4
			MX8MP_IOMUXC_SD1_DATA2__USDHC1_DATA2		0x1d4
			MX8MP_IOMUXC_SD1_DATA3__USDHC1_DATA3		0x1d4
			MX8MP_IOMUXC_SD1_DATA4__USDHC1_DATA4		0x1d4
			MX8MP_IOMUXC_SD1_DATA5__USDHC1_DATA5		0x1d4
			MX8MP_IOMUXC_SD1_DATA6__USDHC1_DATA6		0x1d4
			MX8MP_IOMUXC_SD1_DATA7__USDHC1_DATA7		0x1d4
			MX8MP_IOMUXC_SD1_STROBE__USDHC1_STROBE		0x190
			MX8MP_IOMUXC_SD1_RESET_B__USDHC1_RESET_B	0x004
		>;
	};

	pinctrl_emmc_200mhz: usdhc1grp-200mhz {
		fsl,pins = <
			MX8MP_IOMUXC_SD1_CLK__USDHC1_CLK			0x196
			MX8MP_IOMUXC_SD1_CMD__USDHC1_CMD			0x096
			MX8MP_IOMUXC_SD1_DATA0__USDHC1_DATA0		0x096
			MX8MP_IOMUXC_SD1_DATA1__USDHC1_DATA1		0x1d6
			MX8MP_IOMUXC_SD1_DATA2__USDHC1_DATA2		0x1d6
			MX8MP_IOMUXC_SD1_DATA3__USDHC1_DATA3		0x1d6
			MX8MP_IOMUXC_SD1_DATA4__USDHC1_DATA4		0x1d6
			MX8MP_IOMUXC_SD1_DATA5__USDHC1_DATA5		0x1d6
			MX8MP_IOMUXC_SD1_DATA6__USDHC1_DATA6		0x1d6
			MX8MP_IOMUXC_SD1_DATA7__USDHC1_DATA7		0x1d6
			MX8MP_IOMUXC_SD1_STROBE__USDHC1_STROBE		0x190
			MX8MP_IOMUXC_SD1_RESET_B__USDHC1_RESET_B	0x004
		>;
	};


	pinctrl_osm_sdio_a: usdhc2grp {
		fsl,pins = <
			MX8MP_IOMUXC_SD2_CLK__USDHC2_CLK		0x190
			MX8MP_IOMUXC_SD2_CMD__USDHC2_CMD		0x1d0
			MX8MP_IOMUXC_SD2_DATA0__USDHC2_DATA0	0x1d0
			MX8MP_IOMUXC_SD2_DATA1__USDHC2_DATA1	0x1d0
			MX8MP_IOMUXC_SD2_DATA2__USDHC2_DATA2	0x1d0
			MX8MP_IOMUXC_SD2_DATA3__USDHC2_DATA3	0x1d0
		>;
	};

	pinctrl_osm_sdio_a_100mhz: usdhc2grp-100mhz {
		fsl,pins = <
			MX8MP_IOMUXC_SD2_CLK__USDHC2_CLK		0x194
			MX8MP_IOMUXC_SD2_CMD__USDHC2_CMD		0x1d4
			MX8MP_IOMUXC_SD2_DATA0__USDHC2_DATA0	0x1d4
			MX8MP_IOMUXC_SD2_DATA1__USDHC2_DATA1	0x1d4
			MX8MP_IOMUXC_SD2_DATA2__USDHC2_DATA2	0x1d4
			MX8MP_IOMUXC_SD2_DATA3__USDHC2_DATA3	0x1d4
		>;
	};

	pinctrl_osm_sdio_a_200mhz: usdhc2grp-200mhz {
		fsl,pins = <
			MX8MP_IOMUXC_SD2_CLK__USDHC2_CLK		0x196
			MX8MP_IOMUXC_SD2_CMD__USDHC2_CMD		0x1d6
			MX8MP_IOMUXC_SD2_DATA0__USDHC2_DATA0	0x1d6
			MX8MP_IOMUXC_SD2_DATA1__USDHC2_DATA1	0x1d6
			MX8MP_IOMUXC_SD2_DATA2__USDHC2_DATA2	0x1d6
			MX8MP_IOMUXC_SD2_DATA3__USDHC2_DATA3	0x1d6
		>;
	};

	pinctrl_osm_sdio_a_cd: usdhc2grp-cd {
			fsl,pins = <
			MX8MP_IOMUXC_SD2_CD_B__USDHC2_CD_B			0x084
		>;
	};

	pinctrl_osm_sdio_a_wp: usdhc2grp-wp {
		fsl,pins = <
			MX8MP_IOMUXC_SD2_WP__USDHC2_WP				0x084
		>;
	};

	pinctrl_osm_sdio_a_rst: usdhc2grp-rst {
		fsl,pins = <
			MX8MP_IOMUXC_SD2_RESET_B__USDHC2_RESET_B	0x041
		>;
	};

	pinctrl_osm_sdio_a_vsel: usdhc2grp-vsel {
		fsl,pins = <
			MX8MP_IOMUXC_GPIO1_IO04__USDHC2_VSELECT		0x1d0
			>;
		};

	pinctrl_osm_sdio_b: usdhc3grp {
		fsl,pins = <
			MX8MP_IOMUXC_NAND_WE_B__USDHC3_CLK		0x190
			MX8MP_IOMUXC_NAND_WP_B__USDHC3_CMD		0x1d0
			MX8MP_IOMUXC_NAND_DATA04__USDHC3_DATA0	0x1d0
			MX8MP_IOMUXC_NAND_DATA05__USDHC3_DATA1	0x1d0
			MX8MP_IOMUXC_NAND_DATA06__USDHC3_DATA2	0x1d0
			MX8MP_IOMUXC_NAND_DATA07__USDHC3_DATA3	0x1d0
		>;
	};

	pinctrl_osm_sdio_b_8bit: usdhc3grp-8bit {
		fsl,pins = <
			MX8MP_IOMUXC_NAND_RE_B__USDHC3_DATA4	0x1d0
			MX8MP_IOMUXC_NAND_CE2_B__USDHC3_DATA5	0x1d0
			MX8MP_IOMUXC_NAND_CE3_B__USDHC3_DATA6	0x1d0
			MX8MP_IOMUXC_NAND_CLE__USDHC3_DATA7		0x1d0
		>;
	};

	pinctrl_osm_sdio_b_100mhz: usdhc3grp-100mhz {
		fsl,pins = <
			MX8MP_IOMUXC_NAND_WE_B__USDHC3_CLK		0x194
			MX8MP_IOMUXC_NAND_WP_B__USDHC3_CMD		0x1d4
			MX8MP_IOMUXC_NAND_DATA04__USDHC3_DATA0	0x1d4
			MX8MP_IOMUXC_NAND_DATA05__USDHC3_DATA1	0x1d4
			MX8MP_IOMUXC_NAND_DATA06__USDHC3_DATA2	0x1d4
			MX8MP_IOMUXC_NAND_DATA07__USDHC3_DATA3	0x1d4
		>;
	};

	pinctrl_osm_sdio_b_100mhz_8bit: usdhc3grp-100mhz-8bit {
		fsl,pins = <
			MX8MP_IOMUXC_NAND_RE_B__USDHC3_DATA4	0x1d4
			MX8MP_IOMUXC_NAND_CE2_B__USDHC3_DATA5	0x1d4
			MX8MP_IOMUXC_NAND_CE3_B__USDHC3_DATA6	0x1d4
			MX8MP_IOMUXC_NAND_CLE__USDHC3_DATA7		0x1d4
		>;
	};

	pinctrl_osm_sdio_b_200mhz: usdhc3grp-200mhz {
		fsl,pins = <
			MX8MP_IOMUXC_NAND_WE_B__USDHC3_CLK		0x196
			MX8MP_IOMUXC_NAND_WP_B__USDHC3_CMD		0x1d6
			MX8MP_IOMUXC_NAND_DATA04__USDHC3_DATA0	0x1d6
			MX8MP_IOMUXC_NAND_DATA05__USDHC3_DATA1	0x1d6
			MX8MP_IOMUXC_NAND_DATA06__USDHC3_DATA2	0x1d6
			MX8MP_IOMUXC_NAND_DATA07__USDHC3_DATA3	0x1d6
		>;
	};

	pinctrl_osm_sdio_b_200mhz_8bit: usdhc3grp-200mhz-8bit {
		fsl,pins = <
			MX8MP_IOMUXC_NAND_RE_B__USDHC3_DATA4	0x1d6
			MX8MP_IOMUXC_NAND_CE2_B__USDHC3_DATA5	0x1d6
			MX8MP_IOMUXC_NAND_CE3_B__USDHC3_DATA6	0x1d6
			MX8MP_IOMUXC_NAND_CLE__USDHC3_DATA7		0x1d6
		>;
	};
	pinctrl_osm_sdio_b_cd: usdhc3grp-cd {
		fsl,pins = <
			/* CD */
			MX8MP_IOMUXC_I2C2_SCL__USDHC3_CD_B			0x084
		>;
	};

	pinctrl_osm_sdio_b_wp: usdhc3grp-wp {
		fsl,pins = <
			/* WP */
			MX8MP_IOMUXC_I2C2_SDA__USDHC3_WP			0x084
		>;
	};

	pinctrl_osm_sdio_b_rst: usdhc3grp-rst {
		fsl,pins = <
			/* SDIO_B_RST */
			MX8MP_IOMUXC_NAND_READY_B__USDHC3_RESET_B	0x041
		>;
	};

	pinctrl_wdog: wdoggrp {
		fsl,pins = <
			MX8MP_IOMUXC_GPIO1_IO02__WDOG1_WDOG_B	0xc6
		>;
	};
};
